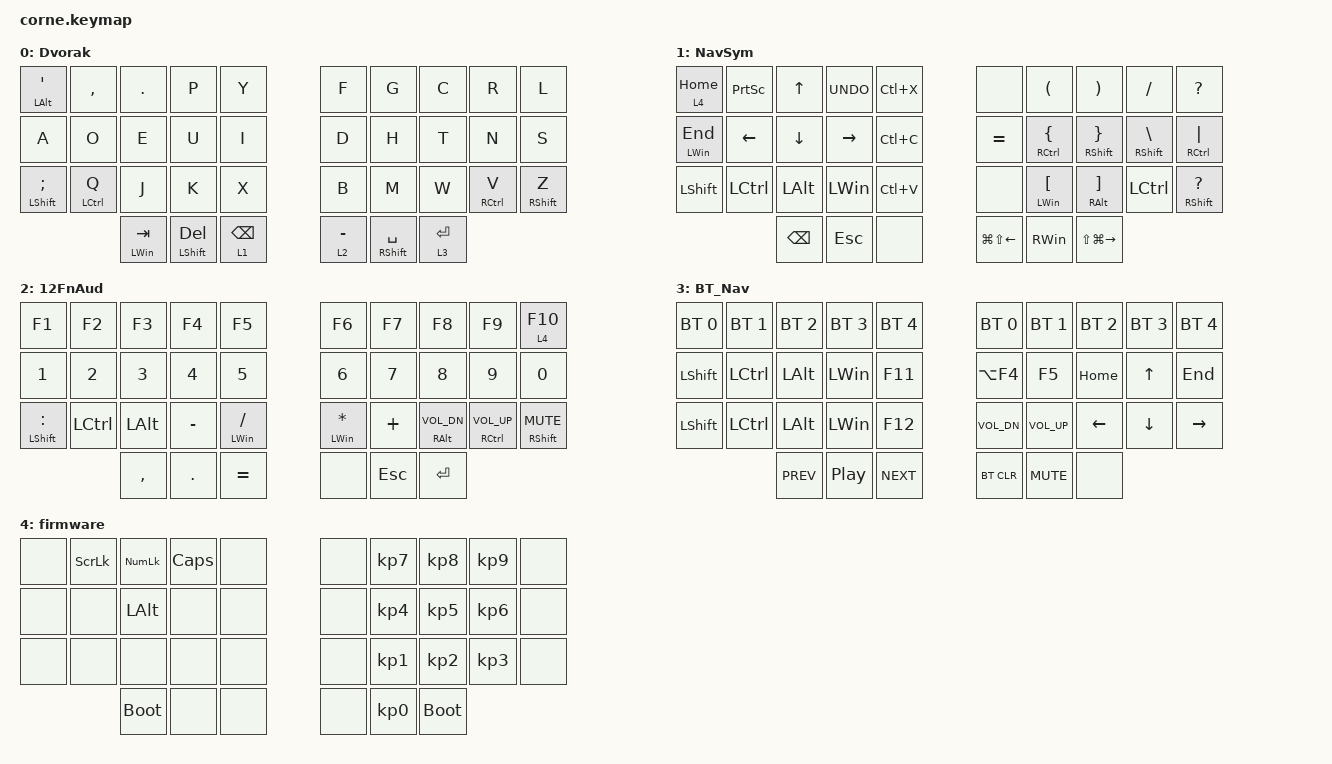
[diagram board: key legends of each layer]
/*
 * Copyright (c) 2020 The ZMK Contributors
 *
 * SPDX-License-Identifier: MIT
 */

#include <behaviors.dtsi>
#include <dt-bindings/zmk/keys.h>
#include <dt-bindings/zmk/bt.h>
//#include <corne_v2_5col_transform.dtsi> //#include "corne_v2_5col_transform.dtsi"

//#define AS(keycode) &as LS(keycode) keycode

/ {
    chosen {
        zmk,physical-layout = &foostan_corne_5col_layout; // from the new version from tyeractive, tho doesn't seem to work with Nick's keymap editor
        //zmk,matrix_transform = &corne_v2_5col_transform;
        //zmk,matrix_transform = &five_column_transform; // old style, doesn't compile anymore
    };

    behaviors {

        // used for holding shift with combo
        temp_shift_left: temp_shift_left {
            compatible = "zmk,behavior-macro";
            #binding-cells = <0>;
            bindings
                = <&macro_press &kp LSHFT>
                , <&macro_pause_for_release>
                , <&macro_release &kp LSHFT>;
        };

        // used for holding shift with combo
        temp_shift_right: temp_shift_right {
            compatible = "zmk,behavior-macro";
            #binding-cells = <0>;
            bindings
                = <&macro_press &kp RSHFT>
                , <&macro_pause_for_release>
                , <&macro_release &kp RSHFT>;
        };

    //    as: auto_shift {
    //        compatible = "zmk,behavior-hold-tap";
    //        #binding-cells = <2>;
    //        tapping_term_ms = <200>;
    //        quick_tap_ms = <0>;
    //        flavor = "tap-preferred";
    //        bindings = <&kp>, <&kp>;
    //    };
    }; // end behaviors


/*               36 KEY MATRIX
  ╭────────────────────┬────────────────────╮
  │  0   1   2   3   4 │  5   6   7   8   9 │
  │ 10  11  12  13  14 │ 15  16  17  18  19 │
  │ 20  21  22  23  24 │ 25  26  27  28  29 │
  ╰───────╮ 30  31  32 │ 33  34  35 ╭───────╯
          ╰────────────┴────────────╯         */

    combos {
        compatible = "zmk,combos";

        //ShiftedEUforRH {
        //    bindings = <&sk LSHIFT>;
        //    key-positions = <12 13>;
        //    layers = <0>;
        //}

        // Left-side temporary shift (e+u), uses behavior
        combo_left_temp_shift {
            timeout-ms = <50>;
            key-positions = <11 12>;  // Adjust to your e and u positions
            bindings = <&temp_shift_left>;
        };
        
        // Right-side temporary shift (h+t), uses behavior
        combo_right_temp_shift {
            timeout-ms = <50>;
            key-positions = <17 18>;  // Adjust to your h and t positions
            bindings = <&temp_shift_right>;
        };

        cut {
            bindings = <&kp LC(X)>;
            key-positions = <21 22>;
            layers = <0 1 2>;
        };

        copy {
            bindings = <&kp LC(C)>;
            key-positions = <22 23>;
            layers = <0 1 2>;
        };

        paste {
            bindings = <&kp LC(V)>;
            key-positions = <23 24>;
            layers = <0 1 2>;
        };

        esc {
            bindings = <&kp ESC>;
            key-positions = <0 1>;
            layers = <0 1 2 3>;
        };

        undo {
            bindings = <&kp LC(Z)>;
            key-positions = <29 28>;
            layers = <0>;
        };

        grave_tilde {
            bindings = <&kp GRAVE>;
            key-positions = <0 10>;
            layers = <0>;
        };

        backspace {
            bindings = <&kp BACKSPACE>;
            key-positions = <8 9>;
            layers = <0 1 2>;
        };

        question {
            bindings = <&kp QMARK>;
            key-positions = <1 2>;
        };

        Del {
            bindings = <&kp DEL>;
            key-positions = <8 7>;
        };

        LParen {
            bindings = <&kp LPAR>;
            key-positions = <3 4>;
            layers = <0 2>;
        };

        RParen {
            bindings = <&kp RPAR>;
            key-positions = <5 6>;
            layers = <0 2>;
        };

        LBrace {
            bindings = <&kp LBRC>;
            key-positions = <13 14>;
            layers = <0>;
        };

        RBrace {
            bindings = <&kp RBRC>;
            key-positions = <15 16>;
            layers = <0>;
        };

        app_calc {
            bindings = <&kp C_AL_CALC>;
            key-positions = <24 14>;
            layers = <0 2>;
        };

        caps {
            bindings = <&kp CAPS>;
            key-positions = <10 11>;
            layers = <0>;
        };

        ThumbShift1 {
            bindings = <&kp EXCLAMATION>;
            key-positions = <10 33>;
            layers = <0>;
        };

        ThumbShift2 {
            bindings = <&kp AT_SIGN>;
            key-positions = <11 33>;
            layers = <0>;
        };

        ThumbShift3 {
            bindings = <&kp HASH>;
            key-positions = <12 33>;
            layers = <0>;
        };

        ThumbShift4 {
            bindings = <&kp DOLLAR>;
            key-positions = <33 13>;
            layers = <0>;
        };

        ThumbShift5 {
            bindings = <&kp PERCENT>;
            key-positions = <33 14>;
            layers = <0>;
        };

        ThumbShift6 {
            bindings = <&kp CARET>;
            key-positions = <15 32>;
            layers = <0>;
        };

        ThumbShift7 {
            bindings = <&kp AMPERSAND>;
            key-positions = <16 32>;
            layers = <0>;
        };

        ThumbShift8 {
            bindings = <&kp ASTERISK>;
            key-positions = <17 32>;
            layers = <0>;
        };

        ThumbShift9 {
            bindings = <&kp LEFT_PARENTHESIS>;
            key-positions = <18 32>;
            layers = <0>;
        };

        ThumbShift0 {
            bindings = <&kp RIGHT_PARENTHESIS>;
            key-positions = <19 32>;
            layers = <0>;
        };

        PrtScn {
            bindings = <&kp PSCRN>;
            key-positions = <2 3>;
            layers = <0>;
        };

        homeCombo {
            bindings = <&kp HOME>;
            key-positions = <8 18>;
            layers = <0>;
        };

        endCombo {
            bindings = <&kp END>;
            key-positions = <9 19>;
            layers = <0>;
        };

        volDown {
            bindings = <&kp C_VOL_DN>;
            key-positions = <35 27>;
            layers = <0>;
        };

        volUp {
            bindings = <&kp C_VOL_UP>;
            key-positions = <35 28>;
            layers = <0>;
        };

        volMute {
            bindings = <&kp C_MUTE>;
            key-positions = <35 29>;
            layers = <0>;
        };

    }; // end combos

    keymap {
        compatible = "zmk,keymap";
    
        default_layer {
            // -----------------------------------------------------------------------------------------
            // |  Q  |  W  |  E  |  R  |  T  |     |  Y  |  U   |  I   |  O   | P |
            // |  A  |  S  |  D  |  F  |  G  |     |  H  |  J   |  K   |  L   | ' | 
            // |  Z  |  X  |  C  |  V  |  B  |     |  N  |  M   | CTRL | META | . |
            //             | GUI | LWR | SPC |     | ENT | RSE  | BSPC |
            display-name = "Dvorak";
            bindings = <
                &mt LALT SQT         &kp COMMA  &kp DOT       &kp P           &kp Y              &kp F        &kp G             &kp C        &kp R  &kp L
                &kp A                &kp O      &kp E         &kp U           &kp I              &kp D        &kp H             &kp T        &kp N  &kp S
                &mt LSHIFT SEMICOLON  &mt LCTRL Q      &kp J         &kp K           &kp X              &kp B        &kp M             &kp W        &mt RCTRL V  &mt RSHIFT Z
                &mt LWIN TAB  &mt LSHIFT DEL  &lt 1 BACKSPACE    &lt 2 MINUS  &mt RSHIFT SPACE  &lt 3 ENTER //&kp SPACE
            >;
        };
    
        nav_symb {
            // -----------------------------------------------------------------------------------------
            // | !     |  @  |  #  |  $  |  %  |     |  ^  |  &  |  *  |  (  |  )  |
            // | BT1   | BT2 | BT3 | BT4 | BT5 |     | LFT | DWN |  UP | RGT |     |
            // | BTCLR |     |     |     |     |     |     |     |     |     |     |
            //               | GUI |     | SPC |     | ENT | ESC | TAB |
            display-name = "NavSym";
            bindings = <
                &lt 4 HOME    &kp PSCRN  &kp UP         &kp K_UNDO  &kp LC(X)    &none             &kp LPAR        &kp RPAR           &kp SLASH       &kp QMARK
                &mt LWIN END  &kp LEFT   &kp DOWN       &kp RIGHT   &kp LC(C)    &kp EQUAL         &mt RCTRL LBRC  &mt RSHFT RBRC     &mt RSHFT BSLH  &mt RCTRL PIPE
                &kp LSHFT     &kp LCTRL  &kp LALT       &kp LWIN    &kp LC(V)    &none             &mt LWIN LBKT   &mt RALT RBKT      &kp LCTRL       &mt RSHFT QMARK
                &kp BACKSPACE  &kp ESC     &none        &kp LG(LS(LEFT))  &kp RWIN        &kp LS(LG(RIGHT))
            >;
        };
    
        num_fn_audio {
            // -----------------------------------------------------------------------------------------
            // | 1! |  2@ |  3# |  4$ |  5% |     |  6^ |  7& |  8* |  9(  |  0)  |
            // | -_ |  =+ |  {  |  [  |  (  |     |  )  |  ]  |  }  |  /?  |  \|  |
            // | `~ |     |     |  ,< |  :  |     |  ;  |  .> | CTRL| META |      |
            //            | GUI | ESC | SPC |     | ENT |     | TAB |
            display-name = "12FnAud"; //label
            bindings = <
                &kp F1           &kp F2     &kp F3     &kp F4     &kp F5            &kp F6          &kp F7    &kp F8             &kp F9              &lt 4 F10
                &kp N1           &kp N2     &kp N3     &kp N4     &kp N5            &kp N6          &kp N7    &kp N8             &kp N9              &kp N0
                &mt LSHIFT COLON  &kp LCTRL  &kp LALT   &kp MINUS  &mt LWIN SLASH    &mt LWIN ASTRK  &kp PLUS  &mt RALT C_VOL_DN  &mt RCTRL C_VOL_UP  &mt RSHIFT C_MUTE
                &kp COMMA  &kp DOT    &kp EQUAL         &none           &kp ESC   &kp ENTER
            >;
        };

        bt_nav_music {
            // -----------------------------------------------------------------------------------------
            // | !     |  @  |  #  |  $  |  %  |     |  ^  |  &  |  *  |  (  |  )  |
            // | BT1   | BT2 | BT3 | BT4 | BT5 |     | LFT | DWN |  UP | RGT |     |
            // | BTCLR |     |     |     |     |     |     |     |     |     |     |
            //               | GUI |     | SPC |     | ENT | ESC | TAB |
            display-name = "BT_Nav";
            bindings = <
                &bt BT_SEL 0  &bt BT_SEL 1  &bt BT_SEL 2  &bt BT_SEL 3      &bt BT_SEL 4    &bt BT_SEL 0  &bt BT_SEL 1  &bt BT_SEL 2  &bt BT_SEL 3  &bt BT_SEL 4
                &kp LSHFT     &kp LCTRL     &kp LALT      &kp LWIN          &kp F11         &kp LA(F4)    &kp F5        &kp HOME      &kp UP        &kp END
                &kp LSHFT     &kp LCTRL     &kp LALT      &kp LWIN          &kp F12         &kp C_VOL_DN  &kp C_VOL_UP  &kp LEFT      &kp DOWN      &kp RIGHT
                &kp C_PREV    &kp C_PLAY_PAUSE  &kp C_NEXT      &bt BT_CLR    &kp C_MUTE    &none
            >;
        };
    
        firmware {
            // -----------------------------------------------------------------------------------------
            // | 1! |  2@ |  3# |  4$ |  5% |     |  6^ |  7& |  8* |  9(  |  0)  |
            // | -_ |  =+ |  {  |  [  |  (  |     |  )  |  ]  |  }  |  /?  |  \|  |
            // | `~ |     |     |  ,< |  :  |     |  ;  |  .> | CTRL| META |      |
            //            | GUI | ESC | SPC |     | ENT |     | TAB |
            display-name = "firmware"; //label
            bindings = <
                &none  &kp SCROLLLOCK  &kp KP_NUMLOCK  &kp CAPSLOCK  &none    &none  &kp KP_N7  &kp KP_N8    &kp KP_N9  &none
                &none  &none           &kp LALT        &none         &none    &none  &kp KP_N4  &kp KP_N5    &kp KP_N6  &none
                &none  &none           &none           &none         &none    &none  &kp KP_N1  &kp KP_N2    &kp KP_N3  &none
                &bootloader     &none         &none    &none  &kp KP_N0  &bootloader
            >;
        };
    }; //end keymap

}; // end root
